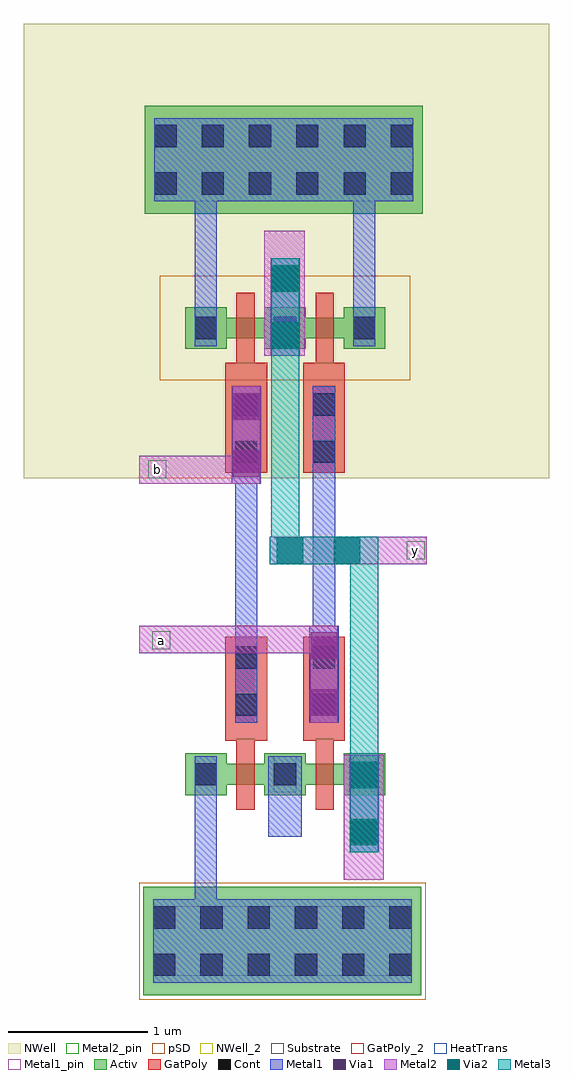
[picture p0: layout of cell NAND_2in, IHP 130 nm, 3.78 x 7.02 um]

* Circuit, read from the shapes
.subckt NAND_2in a b y
XM1 n1 b VSUBS VSUBS sg13_lv_nmos w=0.15u l=0.13u
XM2 y a n1 VSUBS sg13_lv_nmos w=0.15u l=0.13u
XM3 y b ntap1$6_8/well ntap1$6_8/well sg13_lv_pmos w=0.15u l=0.13u
XM4 ntap1$6_8/well a y ntap1$6_8/well sg13_lv_pmos w=0.15u l=0.13u
.ends

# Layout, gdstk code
from math import pi, radians
import gdstk
lib = gdstk.Library(unit=1e-6, precision=1e-09)
def R(c, l, rs):  # rectangles x0, y0, x1, y1
    for r in rs: c.add(gdstk.rectangle(r[:2], r[2:], *l))
def A(c, l, x, y, w, h, nx, ny, dx, dy):  # array of equal rectangles
    R(c, l, [(x+i*dx, y+j*dy, x+i*dx+w, y+j*dy+h) for i in range(nx) for j in range(ny)])
Activ = (1, 0)
GatPoly = (5, 0)
GatPoly_2 = (5, 2)
Cont = (6, 0)
Metal1 = (8, 0)
Metal1_pin = (8, 2)
Metal2 = (10, 0)
Metal2_pin = (10, 2)
pSD = (14, 0)
Via1 = (19, 0)
Via2 = (29, 0)
Metal3 = (30, 0)
NWell = (31, 0)
NWell_2 = (31, 2)
Substrate = (40, 0)
HeatTrans = (51, 0)

pmos_5 = lib.new_cell('pmos$5')
A(pmos_5, Activ, 0, 0, 0.3, 0.3, 3, 1, 0.57, 0)
R(pmos_5, Activ, [(0,0.075,1.44,0.225)])
R(pmos_5, GatPoly, [(0.37,-0.105,0.5,0.405), (0.37,-0.105,0.5,0.405), (0.94,-0.105,1.07,0.405)])
A(pmos_5, Cont, 0.07, 0.07, 0.16, 0.16, 3, 1, 0.57, 0)
R(pmos_5, Metal1, [(0.07,0.02,0.23,0.28), (0.07,0.02,0.23,0.28), (0.64,0.02,0.8,0.28), (0.64,0.02,0.8,0.28), (1.21,0.02,1.37,0.28)])
R(pmos_5, pSD, [(-0.18,-0.225,1.62,0.525)])
R(pmos_5, NWell, [(-0.31,-0.31,1.75,0.61)])
R(pmos_5, Substrate, [(1.14,0,1.44,0.3)])
R(pmos_5, HeatTrans, [(0.37,-0.105,0.5,0.405), (0.94,-0.105,1.07,0.405)])
pmos_5.add(gdstk.Label('pmos', (0.435,0.15), layer=63, texttype=0))
pmos_5.add(gdstk.Label('pmos', (0.435,0.15), layer=51, texttype=0))
pmos_5.add(gdstk.Label('pmos', (1.005,0.15), layer=51, texttype=0))

via_14 = lib.new_cell('Via$14')
R(via_14, GatPoly, [(-0.32,-0.15,0.32,0.15)])
R(via_14, Cont, [(-0.25,-0.08,-0.09,0.08), (0.09,-0.08,0.25,0.08)])
R(via_14, Metal1, [(-0.3,-0.08,0.3,0.08)])

nmos_5 = lib.new_cell('nmos$5')
A(nmos_5, Activ, 0, 0, 0.3, 0.3, 3, 1, 0.57, 0)
R(nmos_5, Activ, [(0,0.075,1.44,0.225)])
R(nmos_5, GatPoly, [(0.37,-0.105,0.5,0.405), (0.94,-0.105,1.07,0.405)])
R(nmos_5, GatPoly_2, [(0.37,-0.105,0.5,0.405)])
A(nmos_5, Cont, 0.07, 0.07, 0.16, 0.16, 3, 1, 0.57, 0)
A(nmos_5, Metal1, 0.07, 0.02, 0.16, 0.26, 3, 1, 0.57, 0)
R(nmos_5, Metal1_pin, [(0.07,0.02,0.23,0.28), (0.64,0.02,0.8,0.28)])
R(nmos_5, HeatTrans, [(0.37,-0.105,0.5,0.405), (0.94,-0.105,1.07,0.405)])
nmos_5.add(gdstk.Label('nmos', (0.435,0.15), layer=63, texttype=0))
nmos_5.add(gdstk.Label('nmos', (0.435,0.15), layer=51, texttype=0))
nmos_5.add(gdstk.Label('nmos', (1.005,0.15), layer=51, texttype=0))

via_3_3 = lib.new_cell('Via$3$3')
R(via_3_3, Metal2, [(-0.1,-0.35,0.1,0.35)])
R(via_3_3, Via2, [(-0.095,-0.3,0.095,-0.11), (-0.095,0.11,0.095,0.3)])
R(via_3_3, Metal3, [(-0.1,-0.35,0.1,0.35)])

ptap1_6 = lib.new_cell('ptap1$6')
R(ptap1_6, Activ, [(0,0,2,0.78)])
A(ptap1_6, Cont, 0.07, 0.14, 0.16, 0.16, 6, 2, 0.34, 0.34)
R(ptap1_6, Metal1, [(0.07,0.09,1.93,0.69), (0.07,0.14,1.93,0.64)])
R(ptap1_6, Metal1_pin, [(0.07,0.14,1.93,0.64)])
R(ptap1_6, pSD, [(-0.03,-0.03,2.03,0.81)])
R(ptap1_6, Substrate, [(0,0,2,0.78)])
ptap1_6.add(gdstk.Label('sub!', (1,0.01), layer=63, texttype=0))
ptap1_6.add(gdstk.Label('sub!', (1,0.01), layer=40, texttype=0))

ntap1_6 = lib.new_cell('ntap1$6')
R(ntap1_6, Activ, [(0,0,2,0.78)])
A(ntap1_6, Cont, 0.07, 0.14, 0.16, 0.16, 6, 2, 0.34, 0.34)
R(ntap1_6, Metal1, [(0.07,0.09,1.93,0.69)])
R(ntap1_6, Metal1_pin, [(0.07,0.09,1.93,0.69), (0.07,0.14,1.93,0.64)])
R(ntap1_6, NWell, [(-0.24,-0.24,2.24,1.02), (0,0,2,0.78)])
R(ntap1_6, NWell_2, [(0,0,2,0.78)])
ntap1_6.add(gdstk.Label('well', (1,0.01), layer=63, texttype=0))
ntap1_6.add(gdstk.Label('well', (1,0.01), layer=31, texttype=0))

via_2_3 = lib.new_cell('Via$2$3')
R(via_2_3, Metal1, [(-0.105,-0.35,0.105,0.35)])
R(via_2_3, Metal2, [(-0.1,-0.35,0.1,0.35)])
R(via_2_3, Via1, [(-0.095,-0.3,0.095,-0.11), (-0.095,0.11,0.095,0.3)])

nand_2in = lib.new_cell('NAND_2in')
R(nand_2in, GatPoly, [(0.68,-2.53,0.81,-2.42), (0.6,-2.51,0.9,-2.4), (1.16,-2.51,1.46,-2.4), (0.6,0.06,0.9,0.21), (1.16,0.06,1.46,0.21), (0.68,0.16,0.81,0.25), (1.25,0.16,1.38,0.25)])
R(nand_2in, Metal1, [(0.38,-3.655,0.54,-2.875), (0.91,-3.2,1.15,-2.94), (0.91,-2.96,1.15,-2.62), (0.67,-2.21,0.83,-1.27), (1.23,-2.21,1.39,-1.27), (0.67,-1.31,0.83,-0.37), (1.23,-1.31,1.39,-0.37), (1.52,0.48,1.68,0.68), (0.38,0.49,0.54,0.63), (0.38,0.595,0.54,1.47), (1.52,0.595,1.68,1.42)])
R(nand_2in, Metal2, [(1.45,-3.51,1.74,-3.31), (1.45,-3.31,1.74,-2.61), (-0.02,-1.88,0.41,-1.68), (0.41,-1.88,0.84,-1.68), (0.81,-1.88,1.24,-1.68), (1.62,-1.24,2.05,-1.04), (-0.02,-0.66,0.41,-0.46), (0.41,-0.66,0.84,-0.46), (0.88,0.26,1.17,0.46), (0.88,0.46,1.17,1.16)])
R(nand_2in, Metal2_pin, [(0.075,-1.85,0.205,-1.72), (1.905,-1.205,2.035,-1.075), (0.045,-0.62,0.175,-0.49)])
R(nand_2in, Metal3, [(1.5,-2.62,1.7,-2.42), (1.5,-2.45,1.7,-1.04), (0.93,-1.09,1.13,0.17), (0.93,0.1,1.13,0.2), (0.93,0.19,1.13,0.35)])
R(nand_2in, NWell, [(-0.85,-0.62,2.93,2.65)])
nand_2in.add(gdstk.Reference(pmos_5, (1.75,0.61), rotation=pi))
nand_2in.add(gdstk.Reference(via_14, (1.31,-0.26), rotation=3*pi/2))
nand_2in.add(gdstk.Reference(via_14, (0.75,-0.26), rotation=3*pi/2))
nand_2in.add(gdstk.Reference(via_14, (0.75,-2.08), rotation=3*pi/2))
nand_2in.add(gdstk.Reference(via_14, (1.31,-2.08), rotation=3*pi/2))
nand_2in.add(gdstk.Reference(nmos_5, (1.75,-2.6), rotation=pi))
nand_2in.add(gdstk.Reference(via_3_3, (1.27,-1.14), rotation=3*pi/2))
nand_2in.add(gdstk.Reference(ptap1_6, (0.01,-4.34)))
nand_2in.add(gdstk.Reference(ntap1_6, (0.02,1.28)))
nand_2in.add(gdstk.Reference(via_2_3, (0.75,-0.31), rotation=pi))
nand_2in.add(gdstk.Reference(via_2_3, (1.6,-2.96), rotation=pi))
nand_2in.add(gdstk.Reference(via_3_3, (1.6,-2.96), rotation=pi))
nand_2in.add(gdstk.Reference(via_2_3, (1.03,0.61), rotation=pi))
nand_2in.add(gdstk.Reference(via_3_3, (1.03,0.61), rotation=pi))
nand_2in.add(gdstk.Reference(via_2_3, (1.31,-2.03), rotation=pi))
nand_2in.add(gdstk.Label('a', (0.14,-1.79), layer=10, texttype=25))
nand_2in.add(gdstk.Label('b', (0.11,-0.56), layer=10, texttype=25))
nand_2in.add(gdstk.Label('y', (1.97,-1.14), layer=10, texttype=25))

lib.write_gds('NAND_2in.gds')
